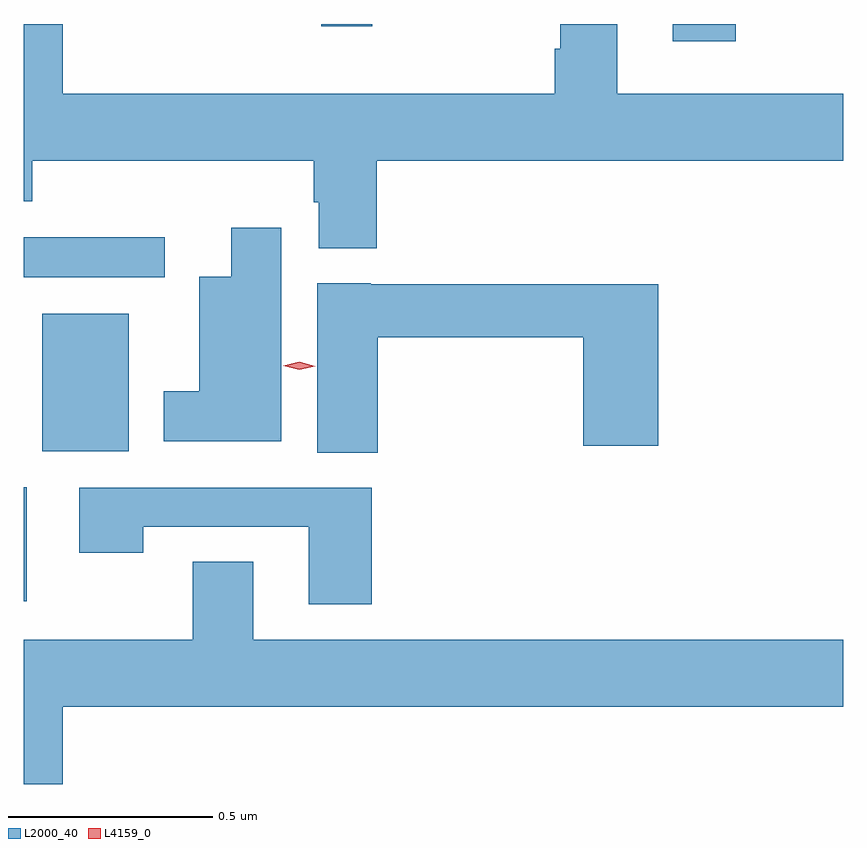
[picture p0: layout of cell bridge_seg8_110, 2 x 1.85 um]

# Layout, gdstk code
import gdstk
lib = gdstk.Library(unit=1e-6, precision=1e-09)
def R(c, l, rs):  # rectangles x0, y0, x1, y1
    for r in rs: c.add(gdstk.rectangle(r[:2], r[2:], *l))
def P(c, l, *ps):  # polygons
    for p in ps: c.add(gdstk.Polygon(p, *l))
L2000_40 = (2000, 40)
L4159_0 = (4159, 0)

bridge_seg8_110 = lib.new_cell('bridge_seg8_110')
R(bridge_seg8_110, L2000_40, [(764.477,1134.074,764.485,1134.352), (764.522,1134.44,764.734,1134.775), (764.477,1134.864,764.821,1134.962), (766.061,1135.44,766.214,1135.482), (765.203,1135.476,765.328,1135.482)])
P(bridge_seg8_110, L2000_40, [(765.338,1135.148),(766.477,1135.148),(766.477,1135.312),(765.925,1135.312),(765.925,1135.482),(765.786,1135.482),(765.786,1135.422),(765.773,1135.422),(765.773,1135.312),(764.572,1135.312),(764.572,1135.482),(764.477,1135.482),(764.477,1135.049),(764.498,1135.049),(764.498,1135.148),(765.185,1135.148),(765.185,1135.047),(765.197,1135.047),(765.197,1134.935),(765.338,1134.935)],
  [(765.106,1134.985),(764.984,1134.985),(764.984,1134.865),(764.906,1134.865),(764.906,1134.586),(764.819,1134.586),(764.819,1134.464),(765.106,1134.464)],
  [(765.341,1134.718),(765.842,1134.718),(765.842,1134.453),(766.025,1134.453),(766.025,1134.847),(765.324,1134.847),(765.324,1134.85),(765.194,1134.85),(765.194,1134.436),(765.341,1134.436)],
  [(765.326,1134.351),(764.613,1134.351),(764.613,1134.192),(764.769,1134.192),(764.769,1134.255),(765.173,1134.255),(765.173,1134.066),(765.326,1134.066)],
  [(764.572,1133.816),(766.477,1133.816),(766.477,1133.98),(765.037,1133.98),(765.037,1134.17),(764.89,1134.17),(764.89,1133.98),(764.477,1133.98),(764.477,1133.628),(764.572,1133.628)])
P(bridge_seg8_110, L4159_0, [(765.149,1134.638),(765.11,1134.648),(765.11,1134.648),(765.11,1134.648),(765.15,1134.658),(765.189,1134.647),(765.189,1134.647),(765.189,1134.647)])

lib.write_gds('bridge_seg8_110.gds')
